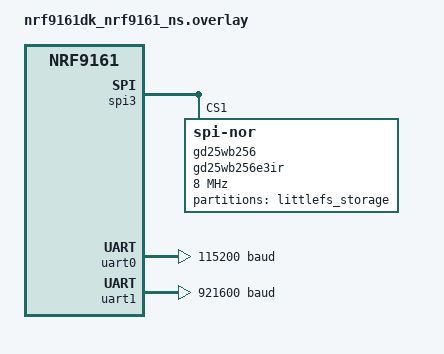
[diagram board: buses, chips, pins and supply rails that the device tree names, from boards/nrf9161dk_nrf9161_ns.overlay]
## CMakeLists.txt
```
#
# Copyright (c) 2020 Nordic Semiconductor
#
# SPDX-License-Identifier: LicenseRef-Nordic-5-Clause
#

cmake_minimum_required(VERSION 3.13.1)

find_package(Zephyr REQUIRED HINTS $ENV{ZEPHYR_BASE})

project(otdoa)

# get settings from sysbuild
zephyr_get(OTDOA_DEV_VERSION SYSBUILD GLOBAL)
zephyr_get(OTDOA_DBG_VERSION SYSBUILD GLOBAL)
zephyr_get(FS_EXT_STORAGE    SYSBUILD GLOBAL)
zephyr_get(OBFUSCATE         SYSBUILD GLOBAL)

# Optionally disable encrypted uBSA downloads and revert to v2 getuBSA
if("${OTDOA_DEV_VERSION}" STREQUAL "ON")
  add_compile_definitions(OTDOA_CONFIG_TARGET_NRF_DEV OTDOA_MIN_LOG=2)
elseif("${OTDOA_DBG_VERSION}" STREQUAL "ON")
  add_compile_definitions(OTDOA_CONFIG_TARGET_NRF_PROD OTDOA_MIN_LOG=2)
else()
  add_compile_definitions(OTDOA_CONFIG_TARGET_NRF_PROD OTDOA_MIN_LOG=1)
endif()

# include littlefs if specified, disable otherwise
add_compile_definitions(OTDOA_LITTLE_FS=1)
add_compile_definitions(ZEPHYR_FS_API)
# determine whether File System mounted on internal/external flash
if (FS_EXT_STORAGE)
  add_compile_definitions(FS_EXT_STORAGE=1)
else()
  add_compile_definitions(FS_EXT_STORAGE=0)
endif()

target_compile_options(app PRIVATE -flto -fdata-sections -ffunction-sections)
target_link_options(app PRIVATE --gc-sections)

# NORDIC SDK APP START

add_library(otdoa STATIC IMPORTED)
set_property(TARGET otdoa PROPERTY IMPORTED_LOCATION "${NRF_DIR}/ext/lib/bin/otdoa/libotdoa.a")


option(ENABLE_CAPTURE "Enable capture support" OFF)

# Only the thingy91x board supports periodic position estimates
if("${CONFIG_BOARD}" STREQUAL "thingy91x")
    target_compile_definitions(app PRIVATE CONFIG_ENABLE_PERIODIC_POS_EST=1)
endif()

target_sources(app PRIVATE src/main.c)
target_sources(app PRIVATE src/otdoa_shell.c)
target_sources(app PRIVATE src/otdoa_sample_app.c)
target_sources(app PRIVATE src/otdoa_gpio.c)
target_sources(app PRIVATE src/otdoa_little_fs.c)

target_include_directories(app PRIVATE ./include)

target_link_libraries(app PUBLIC otdoa)
target_link_libraries(app PUBLIC m)

# GCC 11 by default emits DWARF version 5 which cannot be parsed by
# pyelftools. Can be removed once pyelftools supports v5.
add_link_options(-gdwarf-4)

# NORDIC SDK APP END
```

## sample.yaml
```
sample:
  name: otdoa Sample
tests:
  sample.cellular.otdoa:
    sysbuild: true
    build_only: true
    integration_platforms:
      - nrf9161dk/nrf9161/ns
      - thingy91x/nrf9151/ns
    platform_allow:
      - nrf9161dk/nrf9161/ns
      - thingy91x/nrf9151/ns
    tags: ci_build sysbuild ci_samples_cellular
```

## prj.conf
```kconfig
CONFIG_NRF_MODEM_LIB=y

# Modem info
CONFIG_MODEM_INFO=y
CONFIG_MODEM_INFO_ADD_DATE_TIME=y

CONFIG_NETWORKING=y
CONFIG_NET_SOCKETS=y
CONFIG_NET_NATIVE=n
CONFIG_POSIX_API=y

# LTE link control (for OTDOA sample application)
CONFIG_LTE_LINK_CONTROL=y


CONFIG_MAIN_STACK_SIZE=2048
CONFIG_SHELL_STACK_SIZE=2048

CONFIG_HEAP_MEM_POOL_SIZE=2048

CONFIG_MODEM_KEY_MGMT=y

# Added after update to ncs/nrf folder in 10 May 2021 release from Nordic
CONFIG_FPU=y
CONFIG_FPU_SHARING=y

# floating point prints:
CONFIG_NEWLIB_LIBC_FLOAT_PRINTF=y
CONFIG_NEWLIB_LIBC_FLOAT_SCANF=y

# Serial Port
CONFIG_NRFX_UARTE=y

CONFIG_UART_INTERRUPT_DRIVEN=y
CONFIG_UART_LINE_CTRL=y
CONFIG_UART_0_NRF_TX_BUFFER_SIZE=256

# add for math libraries
CONFIG_NEWLIB_LIBC=y

# Add the Zephyr shell
CONFIG_PRINTK=y
CONFIG_SHELL=y
CONFIG_INIT_STACKS=y
CONFIG_THREAD_STACK_INFO=y
CONFIG_KERNEL_SHELL=y
CONFIG_THREAD_MONITOR=y
CONFIG_BOOT_BANNER=n
CONFIG_THREAD_NAME=y
CONFIG_DEVICE_SHELL=y
CONFIG_DATE_SHELL=y
CONFIG_THREAD_RUNTIME_STATS=y
CONFIG_SHELL_PROMPT_UART="otdoa:~$ "
CONFIG_AT_SHELL=y
CONFIG_FILE_SYSTEM_SHELL=y
# disable wildcards in the shell so commands like AT+CFUN? will not interpret the ? as a wildcard
CONFIG_SHELL_WILDCARD=n
# the default of 64 isn't enough for an EC key
CONFIG_SHELL_BACKEND_SERIAL_RX_RING_BUFFER_SIZE=128

#--------------------------------------------------
# for Nordic integration
# reduce SHMEM size to save memory.  Based on experimental values: CONFIG_NRF_MODEM_LIB_SHMEM_RX_SIZE=16384
CONFIG_NRF_MODEM_LIB_SHMEM_RX_SIZE=6144

# debugging
CONFIG_ASSERT=y
CONFIG_ASSERT_VERBOSE=y

CONFIG_RESET_ON_FATAL_ERROR=n
CONFIG_EXTRA_EXCEPTION_INFO=y
CONFIG_SYSTEM_WORKQUEUE_STACK_SIZE=2048


CONFIG_GPIO=y
CONFIG_SERIAL=y
CONFIG_ARM_MPU=y
CONFIG_ARM_TRUSTZONE_M=y
CONFIG_TRUSTED_EXECUTION_NONSECURE=y
CONFIG_HW_STACK_PROTECTION=y
CONFIG_CONSOLE=y
CONFIG_UART_CONSOLE=y

CONFIG_FLASH=y
CONFIG_FLASH_MAP=y
CONFIG_FLASH_PAGE_LAYOUT=y
CONFIG_FILE_SYSTEM=y
CONFIG_FILE_SYSTEM_LITTLEFS=y
CONFIG_PM_PARTITION_SIZE_LITTLEFS=0x10000

# ncs v2.8.0 experiment
CONFIG_SPI=y
CONFIG_SPI_NOR=y
CONFIG_SPI_NOR_FLASH_LAYOUT_PAGE_SIZE=4096

# Logging
CONFIG_LOG=y
CONFIG_LOG_MODE_DEFERRED=y
CONFIG_LOG_RUNTIME_FILTERING=y
CONFIG_LOG_BUFFER_SIZE=8192
CONFIG_LOG_PRINTK=y
# 64b timestamps to allow longer uptime logs without wrapping
CONFIG_LOG_TIMESTAMP_64BIT=y

# Log thread configuration
CONFIG_LOG_PROCESS_THREAD=y
CONFIG_LOG_PROCESS_THREAD_SLEEP_MS=100
CONFIG_LOG_PROCESS_THREAD_STACK_SIZE=1536

# Disable logging of FS errors, since the FS library
# logs an error if a file does not exist.
CONFIG_FS_LOG_LEVEL_OFF=y

# turn off VT100 colors on the console
CONFIG_SHELL_VT100_COLORS=n


# crypto / security
# Enable nordic security backend and PSA APIs
CONFIG_NRF_SECURITY=y
CONFIG_MBEDTLS_PSA_CRYPTO_C=y

# Enable TF-M for SDK v2.2.0 support with parition sizes
# set to smallest possible
CONFIG_BUILD_WITH_TFM=y
CONFIG_TFM_PROFILE_TYPE_SMALL=y
CONFIG_PM_PARTITION_SIZE_TFM=0x10000
CONFIG_PM_PARTITION_SIZE_TFM_SRAM=0x08000

# disable some TFM partitions so save memory.
# Reduces to 64KB FLASH / 32KB RAM
CONFIG_TFM_PARTITION_INITIAL_ATTESTATION=n
CONFIG_TFM_PARTITION_PLATFORM=y
CONFIG_TFM_PARTITION_PROTECTED_STORAGE=n
CONFIG_TFM_PARTITION_INTERNAL_TRUSTED_STORAGE=y

CONFIG_PSA_WANT_ALG_ECDSA=y
CONFIG_PSA_WANT_KEY_TYPE_ECC_KEY_PAIR_GENERATE=y
CONFIG_PSA_WANT_KEY_TYPE_ECC_KEY_PAIR_IMPORT=y
CONFIG_PSA_WANT_KEY_TYPE_ECC_KEY_PAIR_EXPORT=y
CONFIG_PSA_WANT_ALG_SHA_256=y

CONFIG_PSA_WANT_ALG_ECDH=y
CONFIG_PSA_WANT_ECC_SECP_R1_256=y
CONFIG_PSA_WANT_KEY_TYPE_AES=y
CONFIG_PSA_WANT_ALG_CTR=y

# disable TFM usage of UART1 since it may interfere with icapture.
# for TFM debug, re-enable this option.
CONFIG_TFM_LOG_LEVEL_SILENCE=y

# For key generation
CONFIG_PSA_WANT_GENERATE_RANDOM=y
CONFIG_BASE64=y

# for buttons & LEDs
CONFIG_DK_LIBRARY=y

# Fix for ext. FLASH per Sigurd suggestion
# at https://devzone.nordicsemi.com/f/nordic-q-a/118765/little-fs-on-external-flash-with-nrf9161dk-and-ncs-2-8-0
CONFIG_PM_OVERRIDE_EXTERNAL_DRIVER_CHECK=y

# Enable automatic request of PSM mode on attach.
# this is recommended to reduce power consumption during idle times.
CONFIG_LTE_LC_PSM_MODULE=y
CONFIG_LTE_PSM_REQ=y

# OTDOA Library
CONFIG_OTDOA_AL_LIB=y
CONFIG_OTDOA_LIB_TYPE_PROD=y
CONFIG_OTDOA_SHELL_COMMANDS=y

# OTDOA Sample Application
CONFIG_PERIODIC_EST_INTERVAL=0
# optionally enable upload of results to PhyWi cloud server
#CONFIG_OTDOA_ENABLE_RESULTS_UPLOAD=y
#CONFIG_OTDOA_RESULTS_UPLOAD_PW="<request from PhyWi>"
```

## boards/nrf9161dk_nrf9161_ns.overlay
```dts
/*  This overlay file supports v0.9.X of the nrf9161dk board
 *  and hopefully beyond.  V0.9.X uses the gd25wb256 SPI FLASH
 *  instead of the gd25lb256 used on v0.7.X
 *
 *  Notes:
 *  1. 9161DK v0.9.x uses gd25wb256 with jedec-id = [c8 65 19]
 *  2. It should be possible to remove the &spi3 below
 *     when Zephyr is upgraded to v.3.x (nrf SDK v2.5.x).
 */

&spi3 {

	gd25wb256: gd25wb256e3ir@1 {
		compatible = "jedec,spi-nor";
		status = "disabled";
		reg = <1>;
		spi-max-frequency = <8000000>;
		size = <268435456>;
		has-dpd;
		t-enter-dpd = <3000>;
		t-exit-dpd = <40000>;
		sfdp-bfp = [
			e5 20 f3 ff  ff ff ff 0f  44 eb 08 6b  08 3b 42 bb
			ee ff ff ff  ff ff 00 ff  ff ff 00 ff  0c 20 0f 52
			10 d8 00 ff  44 7a c9 fe  83 67 26 62  ec 82 18 44
			7a 75 7a 75  04 c4 d5 5c  00 06 74 00  08 50 00 01
			];
		jedec-id = [c8 65 19];
	};
};


&gd25wb256 {
	status = "okay";
	partitions {
		compatible = "fixed-partitions";
		#address-cells = <1>;
		#size-cells = <1>;

		lfs_part1: partition@0 {
			label = "littlefs_storage";
			reg = <0x00000000 0x1e84800>;
		};
	};
};

/* Add uart aliases for v2.2.0 of nRF SDK  */
/ {
	aliases {
		uart0 = &uart0;
		uart1 = &uart1;
		spi-flash0 = &gd25wb256;
	};
	chosen {
		nordic,pm-ext-flash = &gd25wb256;
	};
};

&uart0 {
	status = "okay";
	current-speed = <115200>;
};

&uart1 {
	status = "okay";
	current-speed = <921600>;
	hw-flow-control;
};
```

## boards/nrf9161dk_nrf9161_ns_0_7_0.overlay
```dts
/*  This overlay file supports v0.97X of the nrf9161dk board
 *  V0.7.X uses the gd25lb256 SPI FLASH
 *  instead of the gd25wb256 used on v0.9.X
 *
 *  Notes:
 *  1. 9161DK v0.7.X uses gd25lb256 with jedec-id = [c8 67 19]
 *  2. It should be possible to remove the &spi3 below
 *     when Zephyr is upgraded to v.3.x (nrf SDK v2.5.x).
 */

/* Add for 9161DK v0.7.x */
&spi3 {
	gd25lb256: gd25lb256e3ir@1 {
		compatible = "jedec,spi-nor";
		status = "disabled";
		reg = <1>;
		spi-max-frequency = <60000000>;
		jedec-id = [c8 67 19];
		sfdp-bfp = [
			e5 20 ea ff  ff ff ff 0f  44 eb 08 6b  00 3b 00 bb
			fe ff ff ff  ff ff 00 ff  ff ff 44 eb  0c 20 0f 52
			10 d8 00 ff  d5 31 b1 fe  82 e4 14 4c  ec 60 06 33
			7a 75 7a 75  04 bd d5 5c  29 06 74 00  08 50 00 01
		];
		size = <268435456>;
		has-dpd;
		t-enter-dpd = <3000>;
		t-exit-dpd = <30000>;
	};
};

/* Explicitly disable serial FLASH from nrf9161dk_nrf9161.overlay file */
&gd25wb256 {
	status = "disabled";
};

&gd25lb256 {
	status = "okay";
	partitions {
		compatible = "fixed-partitions";
		#address-cells = <1>;
		#size-cells = <1>;

		external_flash_storage: partition@0 {
			label = "external-storage";
			reg = <0x00000000 0x1e84800>;
		};
	};
};

/* Add uart aliases for v2.2.0 of nRF SDK  */
/ {
	aliases {
		uart0 = &uart0;
		uart1 = &uart1;
	};
	chosen {
		nordic,pm-ext-flash = &gd25lb256;
	};
};

&uart0 {
	status = "okay";
	current-speed = <115200>;
};

&uart1 {
	status = "okay";
	current-speed = <921600>;
	hw-flow-control;
};
```

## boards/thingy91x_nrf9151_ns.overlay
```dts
/*
 * Thingy91X board DTS Overlay
 */

/* set console UART to 115200 baud */
&uart0 {
	status = "okay";
	current-speed = <115200>;
};
```

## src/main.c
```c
/*
 * Copyright (c) 2025 PHY Wireless, Inc.
 *
 * SPDX-License-Identifier: LicenseRef-PHYW
 */

#include <zephyr/kernel.h>
#include <zephyr/logging/log.h>

#include "otdoa_gpio.h"
#include "otdoa_little_fs.h"
#include "otdoa_sample_app.h"

LOG_MODULE_REGISTER(main, LOG_LEVEL_DBG);

int main(void)
{
	LOG_INF("OTDOA Sample Application started");

	LOG_DBG("Mounting littleFS");
	if (0 == mount_little_fs()) {
#ifdef FS_TESTS
		test_little_fs();
#endif
	}

	init_button();
	set_blink_mode(MED);

	return otdoa_sample_main();
}
```

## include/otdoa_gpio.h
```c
/* blink speeds */
typedef enum {
	NONE,
	SLOW,
	MED,
	FAST,
	FLASH,
} BLINK_SPEED;

int init_led(void);
int init_button();
int set_led(int);
int toggle_led(void);
void set_blink_mode(BLINK_SPEED);
void set_blink_sleep(void);
void set_blink_prs(void);
void set_blink_download(void);
void set_blink_error(void);
```

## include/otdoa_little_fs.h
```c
/*------------------------------------------------------------------+
 *     PHY WIRELESS TECHNOLOGIES PROPRIETARY AND CONFIDENTIAL       |
 *       Copyright (C) Acorn Technologies, Inc.  2015-2020          |
 *                   All Rights Reserved                            |
 *------------------------------------------------------------------+
 *
 * otdoa_file.h
 *
 */
#ifndef SRC_INCLUDE_OTDOA_FILE_H_
#define SRC_INCLUDE_OTDOA_FILE_H_

#ifndef OTDOA_LITTLE_FS
#error "OTDOA_LITTLE_FS not defined"
#endif

#if OTDOA_LITTLE_FS == 0
int mount_fat_fs();
int test_fs_raw();
int test_fs();

#else
int mount_little_fs();
int unmount_little_fs();
int test_little_fs();


#endif


#endif /* SRC_INCLUDE_OTDOA_FILE_H_ */
```

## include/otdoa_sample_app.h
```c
/*------------------------------------------------------------------+
*        ACORN TECHNOLOGIES PROPRIETARY AND CONFIDENTIAL           |
*       Copyright (C)  PHY Wireless, LLC a wholly owned subsidiary |
*             of Acorn Technologies, Inc.  2015-2024               |
*                   All Rights Reserved                            |
*------------------------------------------------------------------+
*
* otdoa_sample_app - Sample application for the PHY Wireless OTDOA module
*
*/
#include <stdint.h>

int otdoa_sample_main();

// Default timeout for OTDOA in milliseconds
#define OTDOA_SAMPLE_DEFAULT_TIMEOUT_MS (2 * 60 * 1000)

// API functions called from the shell
void otdoa_sample_start(uint32_t session_length, uint32_t capture_flags, uint32_t timeout_msec);
void otdoa_sample_cancel();
void otdoa_sample_ubsa_dl_test(uint32_t ecgi, uint32_t dlearfcn, uint32_t radius, uint32_t max_cells);
```

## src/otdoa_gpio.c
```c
#include <zephyr/kernel.h>
#include <zephyr/logging/log.h>
#include <dk_buttons_and_leds.h>

#include "otdoa_sample_app.h"
#include "otdoa_gpio.h"


#define OTDOA_LED       DK_LED1     // Red LED on thingy91X, green LED1 on 9161dk
#define OTDOA_BUTTON    DK_BTN1

static bool led_is_init = false;
static volatile bool led_state = false;
static volatile BLINK_SPEED led_mode = NONE;
struct k_timer led_timer;

// forward reference
static void button_cb(uint32_t button_state, uint32_t has_changed);


LOG_MODULE_REGISTER(gpio_log, LOG_LEVEL_DBG);


static void led_timer_cb(struct k_timer *timer) {
    toggle_led();

    if (led_mode == FLASH) {
        /* need to manually trigger the next shot, due to different timing */
        k_timer_start(timer, led_state ? K_MSEC(100) : K_MSEC(5000), K_NO_WAIT);
    }
}



int init_led() {

    if (led_is_init)
        return 0;

    // Use library button & LED functions
    dk_leds_init();

    k_timer_init(&led_timer, led_timer_cb, NULL);

    led_is_init = true;

    return 0;
}

int set_led(int state) {
    led_state = state;
    return dk_set_led(OTDOA_LED, led_state);
}

int toggle_led() {
    led_state = !led_state;
    return dk_set_led(OTDOA_LED, led_state);
}

void set_blink_mode(BLINK_SPEED speed) {
    if (!led_is_init) {
        if (init_led()) {
            LOG_ERR("Failed to initialize LED!");
            return;
        }
    }
    led_mode = speed;
    LOG_DBG("Setting blink mode to %d", speed);
    switch (speed) {
        case SLOW:
            k_timer_start(&led_timer, K_MSEC(2000), K_MSEC(2000));
            break;
        case FLASH:
            /* this is a oneshot timer because the delay needs to change */
            k_timer_start(&led_timer, led_state ? K_MSEC(100) : K_MSEC(5000), K_NO_WAIT);
            break;
        case FAST:
            k_timer_start(&led_timer, K_MSEC(250), K_MSEC(250));
            break;
        case MED:
            k_timer_start(&led_timer, K_MSEC(500), K_MSEC(500));
            break;
        case NONE:
            set_led(false);
            k_timer_stop(&led_timer);
            break;
        default:
            printk("Unknown LED blink mode %d\n", led_mode);
            break;
    }
}

void set_blink_sleep() {
    set_blink_mode(FLASH);
}

void set_blink_prs() {
    set_blink_mode(FAST);
}

void set_blink_download() {
    set_blink_mode(MED);
}

void set_blink_error() {
    set_blink_mode(SLOW);
}

//---------------------------------
// Buttons

static void button_cb(uint32_t button_state, uint32_t has_changed)
{
    uint32_t button_mask = BIT(OTDOA_BUTTON);
    if (has_changed & button_mask)
    {
        if (button_state & button_mask)
        {
            LOG_INF("Button high");
        }
        else
        {
            LOG_INF("Button low");
            // start a test for 32 PRS occasions.  Timeout = 120 seconds
            otdoa_sample_start(32, 0, OTDOA_SAMPLE_DEFAULT_TIMEOUT_MS);
        }        
    }
}

int init_button()
{
    dk_buttons_init(button_cb);
    return 0;
}
```

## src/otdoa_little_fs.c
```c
/*
 * Copyright (c) 2025 PHY Wireless, Inc.
 *
 * SPDX-License-Identifier: LicenseRef-PHYW
 */

#if CONFIG_OTDOA_LITTLE_FS

#include <stdio.h>
#include <stdint.h>

#include <zephyr/kernel.h>
#include <zephyr/device.h>
#include <zephyr/fs/fs.h>
#include <zephyr/fs/littlefs.h>
#include <zephyr/storage/flash_map.h>
#include "zephyr/logging/log.h"

LOG_MODULE_DECLARE(main);

/* Matches LFS_NAME_MAX */
#define MAX_PATH_LEN 255

FS_LITTLEFS_DECLARE_DEFAULT_CONFIG(storage);
static struct fs_mount_t lfs_storage_mnt = {
	.type = FS_LITTLEFS,
	.fs_data = &storage,
#if CONFIG_OTDOA_EXTERNAL_STORAGE
	.storage_dev = (void *)FLASH_AREA_ID(external_flash),
#else
	.storage_dev = (void *)FLASH_AREA_ID(littlefs_storage),
#endif
	.mnt_point = "/lfs",
};

/*
 * Mount the LittlFS file system
 */
int mount_little_fs(void)
{
	struct fs_mount_t *mp = &lfs_storage_mnt;
	unsigned int id = (uintptr_t)mp->storage_dev;
	struct fs_statvfs sbuf;
	const struct flash_area *pfa;
	int rc;

	rc = flash_area_open(id, &pfa);
	if (rc < 0) {
		LOG_ERR("FAIL: unable to find flash area %u: %d", id, rc);
		return rc;
	}
	LOG_INF("Area %u at 0x%x on %s for %u bytes", id, (unsigned int)pfa->fa_off,
		pfa->fa_dev->name, (unsigned int)pfa->fa_size);

	flash_area_close(pfa);

	rc = fs_mount(mp);
	if (rc < 0) {
		LOG_ERR("FAIL: mount id %u at %s: %d", (unsigned int)mp->storage_dev, mp->mnt_point,
			rc);
		return rc;
	}
	LOG_INF("%s mount: %d", mp->mnt_point, rc);

	rc = fs_statvfs(mp->mnt_point, &sbuf);
	if (rc < 0) {
		LOG_ERR("FAIL: statvfs: %d", rc);
		int rc1 = fs_unmount(mp);

		LOG_INF("%s unmount: %d", mp->mnt_point, rc1);
		return rc;
	}

	LOG_DBG("%s: bsize = %lu ; frsize = %lu ;"
		" blocks = %lu ; bfree = %lu",
		mp->mnt_point, sbuf.f_bsize, sbuf.f_frsize, sbuf.f_blocks, sbuf.f_bfree);
	return 0;
}

/*
 * Unmount the LittleFS File System
 */
int unmount_little_fs(void)
{
	struct fs_mount_t *mp = &lfs_storage_mnt;
	int rc = fs_unmount(mp);

	printk("%s unmount: %d\n", mp->mnt_point, rc);

	return rc;
}

/*
 * Test the LittleFS file system
 */
int test_little_fs(void)
{
	struct fs_mount_t *mp = &lfs_storage_mnt;
	struct fs_dirent dirent;
	char fname[MAX_PATH_LEN];

	snprintf(fname, sizeof(fname), "%s/boot_count", mp->mnt_point);

	int rc = fs_stat(fname, &dirent);

	printk("%s stat: %d\n", fname, rc);
	if (rc >= 0) {
		printk("\tfn '%s' siz %u\n", dirent.name, dirent.size);
	}

	struct fs_file_t file = {0};

	k_sleep(K_MSEC(100));

	rc = fs_open(&file, fname, FS_O_CREATE | FS_O_RDWR);
	if (rc < 0) {
		printk("FAIL: open %s: %d\n", fname, rc);
		return rc;
	}

	uint32_t boot_count = 0;

	if (rc >= 0) {
		rc = fs_read(&file, &boot_count, sizeof(boot_count));
		printk("%s read count %u: %d\n", fname, boot_count, rc);
		rc = fs_seek(&file, 0, FS_SEEK_SET);
		printk("%s seek start: %d\n", fname, rc);
	}

	boot_count += 1;
	rc = fs_write(&file, &boot_count, sizeof(boot_count));
	printk("%s write new boot count %u: %d\n", fname, boot_count, rc);

	rc = fs_close(&file);
	printk("%s close: %d\n", fname, rc);

	return 0;
}

#endif /* OTDOA_LITTLE_FS == 0 */
```

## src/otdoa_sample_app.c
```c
/*
 * Copyright (c) 2025 PHY Wireless, Inc.
 *
 * SPDX-License-Identifier: LicenseRef-PHYW
 */

#include <string.h>
#include <zephyr/kernel.h>
#include <zephyr/logging/log.h>
#include <nrf_modem_at.h>
#include <modem/lte_lc.h>
#include <modem/nrf_modem_lib.h>
#include <otdoa_al/otdoa_api.h>
#include <otdoa_al/otdoa_otdoa2al_api.h>
#include "otdoa_gpio.h"
#include "otdoa_sample_app.h"

#define UBSA_FILE_PATH "/lfs/ubsa.csv"

LOG_MODULE_DECLARE(otdoa_sample, LOG_LEVEL_INF);

static K_SEM_DEFINE(lte_connected, 0, 1);

/* Timer for periodic position estimates */
struct k_timer pos_est_timer;
#define POS_EST_TIMER_DURATION K_MSEC(CONFIG_PERIODIC_EST_INTERVAL * 60 * 1000)

/* Flag to distinguish between DL requests initiated during an OTDOA
 * session, and those that are not part of a session (e.g. those for testing uBDA DL)
 */
static int dl_in_session;

static const char cert[] = {
#include "hellaphy.pem.inc"
};
BUILD_ASSERT(sizeof(cert) < KB(4), "Certificate too large");

/* forward references */
static void otdoa_event_handler(const otdoa_api_event_data_t *p_event_data);
static void pos_est_timer_cb(struct k_timer *timer);
static void pos_est_timer_restart(void);
void otdoa_sample_start(uint32_t session_length, uint32_t capture_flags, uint32_t timeout_msec);

static void lte_event_handler(const struct lte_lc_evt *const evt)
{
	if (evt->type == LTE_LC_EVT_NW_REG_STATUS) {
		if ((evt->nw_reg_status == LTE_LC_NW_REG_REGISTERED_HOME) ||
			(evt->nw_reg_status == LTE_LC_NW_REG_REGISTERED_ROAMING)) {
			printk("Connected to LTE");
			k_sem_give(&lte_connected);
		}
	}
}

int otdoa_sample_main(void)
{
	LOG_INF("OTDOA sample started");

	int err = nrf_modem_lib_init();

	if (err) {
		LOG_ERR("Modem library initialization failed, error: %d", err);
		return err;
	}
	LOG_INF("Modem version = %s", nrf_modem_build_version());

	otdoa_api_cfg_set_file_path("/lfs/config");

	/* Don't include null terminator in PEM file length */
	err = otdoa_api_install_tls_cert(cert, sizeof(cert) - 1);
	if (err != 0) {
		LOG_ERR("otdoa_api_install_tls_cert() failed with return %d", err);
		return err;
	}

	/* AL and OTDOA library can use the same callback */
	err = otdoa_api_init(UBSA_FILE_PATH, otdoa_event_handler);
	if (err != 0) {
		LOG_ERR("otdoa_api_init() failed with return %d", err);
		return err;
	}

	LOG_INF("Connecting to LTE...");

	lte_lc_register_handler(lte_event_handler);

	lte_lc_connect();

	k_timer_init(&pos_est_timer, pos_est_timer_cb, NULL);

	k_sem_take(&lte_connected, K_FOREVER);

	LOG_INF("Connected!");

	set_blink_sleep();

	/* Optionally enable periodic estimates */
	pos_est_timer_restart();

	return 0;
}

static void display_result_details(const otdoa_api_result_details_t *p_details)
{
	if (!p_details) {
		return;
	}

	LOG_INF("  serv. ecgi: %u", p_details->serving_cell_ecgi);
	LOG_INF("  rssi: %d", p_details->serving_rssi_dbm);
	LOG_INF("  dlearfcn: %u", p_details->dlearfcn);
	LOG_INF("  length: %u", p_details->session_length);

	LOG_INF("  est. algorithm: %s", p_details->estimate_algorithm);
	LOG_INF("  measured cells: %u", p_details->num_measured_cells);

	LOG_INF("  Detected Cells:");
	for (unsigned int u = 0; u < p_details->num_measured_cells; u++) {
		if (p_details->toa_detect_count[u] > 0) {
			LOG_INF("    ecgi: %u  detects: %u", p_details->ecgi_list[u],
				p_details->toa_detect_count[u]);
		}
	}
}

static void otdoa_event_handler(const otdoa_api_event_data_t *p_event_data)
{
	switch (p_event_data->event) {
	case OTDOA_EVENT_RESULTS: {
		LOG_INF("OTDOA_EVENT_RESULTS:");
		LOG_INF("  latitude: %.06f", p_event_data->results.latitude);
		LOG_INF("  longitude: %.06f", p_event_data->results.longitude);
		LOG_INF("  accuracy: %.01f m", (double)(p_event_data->results.accuracy));
		display_result_details(&p_event_data->results.details);
		LOG_INF("OTDOA position estimate SUCCESS");

#ifdef CONFIG_OTDOA_ENABLE_RESULTS_UPLOAD
		LOG_INF("Uploading results.");

		int res = otdoa_api_upload_results(&p_event_data->results, NULL, NULL, NULL);

		if (res != 0) {
			LOG_ERR("Upload results failed: %d", res);
			set_blink_error();
			pos_est_timer_restart();
		} else {
			LOG_INF("Results upload started");
		}
#else
		set_blink_sleep();
		pos_est_timer_restart();
#endif
		break;
	}

#ifdef CONFIG_OTDOA_ENABLE_RESULTS_UPLOAD
	case OTDOA_EVENT_RESULTS_UL_COMPL:
	{
		LOG_INF("OTDOA_EVENT_RESULTS_UL_COMPL: status: %d", p_event_data->ul_compl.status);
		if (p_event_data->ul_compl.status != 0) {
			set_blink_error();
		} else {
			set_blink_sleep();
		}
		pos_est_timer_restart();
		break;
	}
#endif

	case OTDOA_EVENT_FAIL: {
		LOG_ERR("OTDOA_EVENT_FAIL:  failure code = %d", p_event_data->failure_code);
		set_blink_error();
		pos_est_timer_restart();
		break;
	}

	case OTDOA_EVENT_UBSA_DL_REQ: {
		/* OTDOA Library requests download of a new uBSA file */
		dl_in_session = 1;
		set_blink_download();
		/* Call the API to start the DL */
		LOG_INF("OTDOA_EVENT_UBSA_DL_REQ:");
		LOG_INF("  ecgi: %u  dlearfcn: %u", p_event_data->dl_request.ecgi,
			p_event_data->dl_request.dlearfcn);
		LOG_INF("  max cells: %u  radius: %u", p_event_data->dl_request.max_cells,
			p_event_data->dl_request.ubsa_radius_meters);

		int err = otdoa_api_ubsa_download(&p_event_data->dl_request, false);

		if (err != OTDOA_API_SUCCESS) {
			LOG_ERR("otdoa_api_ubsa_download() failed with return %d", err);
			err = otdoa_api_cancel_session();
			if (err != OTDOA_API_SUCCESS) {
				LOG_ERR("otdoa_api_cancel_session() failed with return %d", err);
			}
			set_blink_error();
		}
		pos_est_timer_restart();
		break;
	}

	case OTDOA_EVENT_UBSA_DL_COMPL: {
		LOG_INF("OTDOA_EVENT_UBSA_DL_COMPL:");
		LOG_INF("  status: %d", p_event_data->dl_compl.status);

		/* If DL request was done as part of a session, indicate to the OTDOA library
		 * that the updated uBSA file is now available.
		 */
		if (dl_in_session) {
			dl_in_session = 0;
			set_blink_prs();
			int err = otdoa_api_ubsa_available(p_event_data->dl_compl.status);

			if (err != OTDOA_API_SUCCESS) {
				LOG_ERR("otdoa_api_ubsa_available() failed with return %d", err);
				err = otdoa_api_cancel_session();
				if (err != OTDOA_API_SUCCESS) {
					LOG_ERR("otdoa_api_cancel_session() failed with return %d",
						err);
				}
			}
		} else {
			/* DL request was not part of a session, so just handle the result */
			if (p_event_data->dl_compl.status == OTDOA_API_SUCCESS) {
				set_blink_sleep();
				LOG_INF("OTDOA uBSA DL SUCCESS");
			} else {
				LOG_ERR("OTDOA uBSA DL FAILED");
				set_blink_error();
			}
			pos_est_timer_restart();
		}
		break;
	}

	default: {
		LOG_INF("Unhandle event %d in otdoa_event_handler()", p_event_data->event);
		break;
	}
	}
}

/* callback for periodic position estimates timer */
static void pos_est_timer_cb(struct k_timer *timer)
{
	uint32_t timeout_msec = OTDOA_SAMPLE_DEFAULT_TIMEOUT_MS;

	otdoa_sample_start(32, 0, timeout_msec);
}

static void pos_est_timer_restart(void)
{
#if CONFIG_PERIODIC_EST_INTERVAL > 0
	k_timer_start(&pos_est_timer, POS_EST_TIMER_DURATION, K_NO_WAIT);
#endif
}

static void pos_est_timer_stop(void)
{
	k_timer_stop(&pos_est_timer);
}

/*
 * API functions called from shell
 */
void otdoa_sample_start(uint32_t session_length, uint32_t capture_flags, uint32_t timeout_msec)
{
	otdoa_api_session_params_t params = {0};

	params.session_length = session_length;
	params.capture_flags = capture_flags;
	params.timeout = timeout_msec;

	dl_in_session = 0;

	int err = otdoa_api_start_session(&params);

	if (err != OTDOA_API_SUCCESS) {
		set_blink_error();
		LOG_ERR("otdoa_api_start_session() failed with return %d", err);
	} else {
		set_blink_prs();
		pos_est_timer_stop();
	}
}

void otdoa_sample_cancel(void)
{
	int err = otdoa_api_cancel_session();

	if (err != OTDOA_API_SUCCESS) {
		LOG_ERR("otdoa_api_cancel_session() failed with return %d", err);
	}
	set_blink_sleep();
	pos_est_timer_stop();
}

void otdoa_sample_ubsa_dl_test(uint32_t ecgi, uint32_t dlearfcn, uint32_t radius,
			       uint32_t max_cells, uint16_t mcc, uint16_t mnc)
{
	otdoa_api_ubsa_dl_req_t dl_req = {0};

	dl_req.ecgi = ecgi;
	dl_req.dlearfcn = dlearfcn;
	dl_req.ubsa_radius_meters = radius;
	dl_req.max_cells = max_cells;
	dl_req.mcc = mcc;
	dl_req.mnc = mnc;
	set_blink_download();
	LOG_INF("Getting uBSA (ECGI: %u (0x%08x) DLEARFCN: %u  Radius: %u  Num Cells: %u)", ecgi,
		ecgi, dlearfcn, radius, max_cells);

	int err = otdoa_api_ubsa_download(&dl_req, true);

	if (err != OTDOA_API_SUCCESS) {
		LOG_ERR("otdoa_api_ubsa_download() failed with return %d", err);
		set_blink_error();
	} else {
		set_blink_download();
	}
	pos_est_timer_stop();
}
```

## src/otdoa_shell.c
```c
/*------------------------------------------------------------------+
*     PHY WIRELESS TECHNOLOGIES PROPRIETARY AND CONFIDENTIAL       |
*       Copyright (C) Acorn Technologies, Inc.  2015-2021          |
*                   All Rights Reserved                            |
*------------------------------------------------------------------+
*
* otdoa_shell.c - User interface shell for OTDOA PoC
*
*/

#include <zephyr/kernel.h>
#include <zephyr/sys/printk.h>
#include <zephyr/shell/shell.h>
#include <otdoa_al/phywi_otdoa_api.h>
#include <otdoa_al/phywi_otdoa2al_api.h>
#include <version.h>
#include <stdlib.h>
#include <stdint.h>
#include <string.h>
#include <stdio.h>
#include <ctype.h>
#include "nrf_modem_at.h"

#include "otdoa_sample_app.h"

// These APIs are not part of phywi_otdoa_api.h.  They are designed for
// testing only.  Use with caution!
int otdoa_nordic_at_get_ecgi_and_dlearfcn( uint32_t* pu32_ecgi, uint32_t* pu32_dlearfcn, uint16_t* pu16_mcc, uint16_t* pu16_mnc);
int otdoa_nordic_at_get_modem_version(char* psz_ver, unsigned max_len);
int otdoa_http_send_test_jwt(void);


void otdoa_shell_printf(void* psh, const char* pstring)
{
    shell_fprintf(psh, SHELL_NORMAL, "%s", pstring);
}

/*
 * cmd_get_ubsa_handler() - Handler for get_ubsa command.
 *
 *  This command has the following (optional) string parameters:
 *  1. Serving cell ECGI
 *  2. Radius
 *  3. NumCells
 */
static int cmd_get_ubsa_handler(const struct shell *shell, size_t argc,
                             char **argv)
{
    uint32_t u32Ecgi;
    uint32_t u32Dlearfcn;
    uint16_t u16MCC;
    uint16_t u16MNC;

    // use real values as defaults
    otdoa_nordic_at_get_ecgi_and_dlearfcn(&u32Ecgi, &u32Dlearfcn, &u16MCC, &u16MNC);

    uint32_t u32Radius = 100000;        // Default to 100000 since v0.2 of server interprets this as meters
    uint32_t u32NumCells = 1000;        // increase to 1000 18 Jan 2022.  Patch for Atlanta GA field testing

    if (argc >= 2)
    {
        u32Ecgi = strtoul(argv[1], NULL, 0);
    }

    if (argc >= 3)
    {
        u32Radius = strtoul(argv[2], NULL, 0);
        if (0 == u32Radius)
        {
            shell_error(shell, "Failed to convert radius (%s)\n", argv[2]);
        }
    }

    if (argc >= 4)
    {
        u32NumCells = strtoul(argv[3], NULL, 0);
        if (0 == u32NumCells)
        {
            shell_error(shell, "Failed to convert number of cells (%s)\n", argv[3]);
        }
    }

    if (argc >= 5)
    {
        u16MCC = strtoul(argv[4], NULL, 0);
        if (0 == u16MCC)
        {
            shell_error(shell, "Failed to convert MCC (%s)\n", argv[4]);
        }
    }

    if (argc >= 6)
    {
        u16MNC = strtoul(argv[5], NULL, 0);
        if (0 == u16MNC)
        {
            shell_error(shell, "Failed to convert MNC (%s)\n", argv[5]);
        }
    }

    shell_print(shell, "Getting uBSA (ECGI: %u (0x%08x) DLEARFCN: %u  Radius: %u  Num Cells: %u  MCC: %"PRIu16"  MNC:%"PRIu16")\n",
        u32Ecgi, u32Ecgi, u32Dlearfcn, u32Radius, u32NumCells, u16MCC, u16MNC);


    otdoa_sample_ubsa_dl_test(u32Ecgi, u32Dlearfcn, u32Radius, u32NumCells, u16MCC, u16MNC);
    return 0;
}

/*
 * cmd_get_config_handler() - Handler for get_config command
 *
 * Takes no parameters
 */
static int cmd_get_config_handler(const struct shell *shell, size_t argc, char **argv) {

    shell_print(shell, "Getting config file\n");

    int iRet = otdoa_api_cfg_download();

    if (iRet != 0) {
        shell_error(shell, "Failure in gettinig config file");
    }

    return 0;
}

/*
 * cmd_test_handler() - Handler for "test" command.
 *
 * This command has the following string parameters:
 *  1. Num PRS occasions
 *  2. Capture Flags
 */
static int cmd_test_handler(const struct shell *shell, size_t argc,
                             char **argv)
{
    uint32_t u32Length = 32;
    uint32_t u32CaptureFlags = 0;

    // NB: The first arg is the "test" subcommand
    // so argv[0] = "test", argv[1] = report interval, ...
    if (argc < 1)
        return -1;

    if (argc >= 2)
    {
        u32Length = strtoul(argv[1], NULL, 0);
    }
    if (argc >= 3) { u32CaptureFlags = strtoul(argv[2], NULL, 0); }

    uint32_t timeout_msec = OTDOA_SAMPLE_DEFAULT_TIMEOUT_MS;
    otdoa_sample_start(u32Length, u32CaptureFlags, timeout_msec);

    return 0;
}

/**
 * cmd_info_handler() - Handler for "info" command
 *
 * Displays the following:
 *  - ECGI of camped on cell
 *  - CTRL FSM state
 *  - NordicAT FSM state
 *  - Software version
 *  - ICCID
 */
static int cmd_info_handler(const struct shell *shell,
                            size_t argc,
                            char **argv)
{
    unsigned    ecgi;
    const char *version;
    char        iccid[256];
    int         rc;
    uint16_t    mcc;
    uint16_t    mnc;

    printk("Nordic OTDOA Sample\n");
    /* get the ECGI */
    rc = otdoa_nordic_at_get_ecgi_and_dlearfcn(&ecgi, NULL, &mcc, &mnc);
    if (rc)
        printk("Failed to get ECGI: %d\n", rc);
    else {
        printk("          ECGI: %u\n", ecgi);
        printk("           MCC: %"PRIu16"\n", mcc);
        printk("           MNC: %"PRIu16"\n", mnc);
    }


    /* get the software version */
    version = otdoa_api_get_version();
    printk("       Version: %s\n", version);

    rc = otdoa_nordic_at_get_modem_version(iccid, sizeof(iccid));
    if (rc) printk("Failed to get Modem Version\n");
    else {
        printk("   MFW Version: %s\n", iccid);
    }

    const char* pszIMEI = otdoa_get_imei_string();
    if (NULL == pszIMEI)
        pszIMEI = "unknown";
    printk("          IMEI: %s\n", pszIMEI);

    /* get the ICCID */
    rc = nrf_modem_at_cmd(iccid, sizeof iccid, "AT%%XICCID");
    if (rc)
        printk("Failed to get ICCID: %d\n", rc);
    else {
        /* find the end of the ICCID and end the string there */
        *strchr(iccid, '\n') = 0;
        printk("       %s\n", iccid);
    }

    return 0;
}


/*
 * cmd_show_handler() - Handler for show command.
 *
 * This command has no parameters
 */
int ubsa_decode_file(const char* psz_infile, int i_display, const void* psh);


static int cmd_show_handler(const struct shell *shell, size_t argc,
                             char **argv)
{
    const char* psz_path = NULL;
    int i_display = 10000;  // max lines to display
    if (argc >= 2)
    {
        i_display = strtod(argv[1], NULL);
    }
    ubsa_decode_file(psz_path, i_display, shell);

    return 0;

}

/*
 * cmd_reset_handler() - Soft reset the device
 */
static int cmd_reset_handler(const struct shell *shell, size_t argc,
                             char **argv)
{

    ARG_UNUSED(argc);
    ARG_UNUSED(argv);
    NVIC_SystemReset();
    return 0;
}

//  Override the Serving Cell & DLEARFCN
extern uint32_t u32OverrideServCellECGI;
extern uint32_t u32OverrideDLEARFCN;
static int cmd_override_handler(const struct shell *shell, size_t argc, char **argv)
{
    uint32_t u32Ecgi = 0;
    uint32_t u32DlearFcn = 5230;
    uint16_t u16MCC = 0;
    uint16_t u16MNC = 0;
    otdoa_nordic_at_get_ecgi_and_dlearfcn(&u32Ecgi, &u32DlearFcn, &u16MCC, &u16MNC);
    printf("Current : INFO ECGI=%u, DLEARFCN=%u\n", u32Ecgi, u32DlearFcn);

    uint32_t u32ServCellECGI = 0;   // Zero means don't override
    if (argc >= 2)
    {
        u32ServCellECGI = strtoul(argv[1], NULL, 0);    // Zero means don't override
        u32OverrideServCellECGI = u32ServCellECGI;
        if (u32ServCellECGI)
        {
            u32OverrideDLEARFCN = u32DlearFcn;
        }
    }
    if (argc > 2)
    {
        u32OverrideDLEARFCN = strtoul(argv[2], NULL, 0);
    }

    printf("Serving Cell Override ECGI=%u DLEARFCN=%u\n", u32OverrideServCellECGI, u32OverrideDLEARFCN);
    return 0;
}

static void cmd_provision_handler(const struct shell *shell, size_t argc, char **argv) 
{
    otdoa_api_provision(argv[1]);
}

static void cmd_jwt_handler(const struct shell *shell, size_t argc, char **argv) {
    otdoa_http_send_test_jwt();
}


/* Creating subcommands (level 1 command) array for command "phywi". */
SHELL_STATIC_SUBCMD_SET_CREATE(sub_phywi,
        SHELL_CMD_ARG( get_ubsa,   NULL, " Download a uBSA (ECGI,DLEARFCN,Radius,NumCells,MCC,MNC)", cmd_get_ubsa_handler, 0, 6),

        SHELL_CMD(     reset,      NULL, " Soft reset the device", cmd_reset_handler),
        SHELL_CMD_ARG( show,       NULL, " Display the uBSA file (nLines)", cmd_show_handler, 0, 2),
        SHELL_CMD_ARG( test,       NULL, " Test OTDOA (Len,captFlags)", cmd_test_handler, 0, 2),
        SHELL_CMD(     info,       NULL, " Show current OTDOA info", cmd_info_handler),

        SHELL_CMD_ARG(ecgi,        NULL, " Override the serving cell ECGI - zero to reset, none to display current", cmd_override_handler, 0, 2),

        SHELL_CMD( get_config,     NULL, " Download a config file", cmd_get_config_handler),
        SHELL_CMD(jwt,             NULL, " Test generate JWT token", cmd_jwt_handler),

        SHELL_CMD_ARG(provision,   NULL, " Provision a key to use for JWT generation", cmd_provision_handler, 0, 1),
        SHELL_SUBCMD_SET_END
        );
/* Creating root (level 0) command "phywi" */
SHELL_CMD_REGISTER(phywi, &sub_phywi, "PHY Wireless OTDOA Commands", NULL);
```
